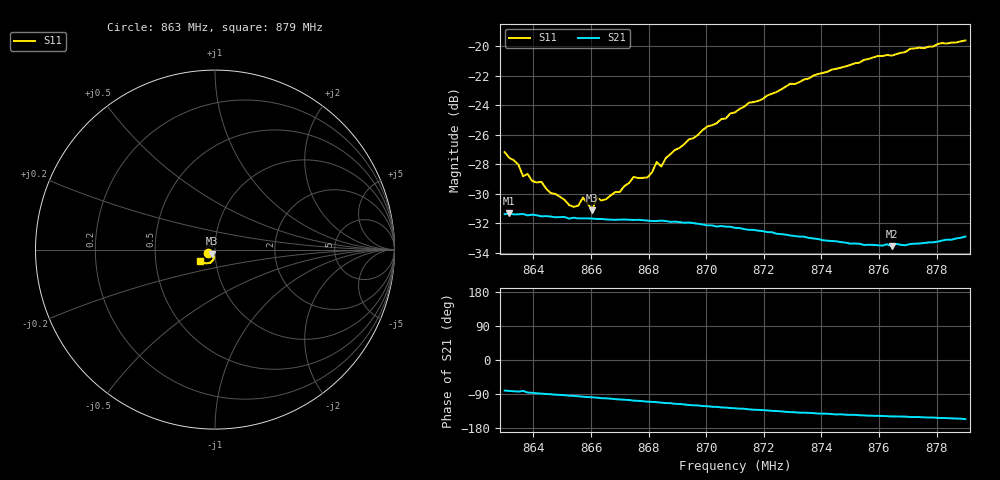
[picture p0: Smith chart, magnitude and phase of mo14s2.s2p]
# HZ S RI R 50
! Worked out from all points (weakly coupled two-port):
!   101 points, 863 MHz to 879 MHz, reference 50 ohm
!   highest |S21| = -31.35 dB at 863.16 MHz (marker M1); lowest = -33.6 dB at 876.44 MHz (marker M2)
!   lowest |S11| = -31.1 dB at 866.04 MHz (marker M3), VSWR 1.06, Z = 48.5 - j2.29 ohm
!   |S11| at or under -10 dB: start of sweep to end of sweep
!   S12 and S22 are empty: the file has one direction only
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8.63e8  -0.04 -0.0177  0.00439 -0.0266  0 0  0 0
8.6316e8  -0.0381 -0.0172  0.00395 -0.0268  0 0  0 0
8.6348e8  -0.0358 -0.0171  0.0031 -0.0267  0 0  0 0
8.6364e8  -0.0316 -0.0177  0.00401 -0.0267  0 0  0 0
8.6428e8  -0.0284 -0.0199  0.000589 -0.0265  0 0  0 0
8.6524e8  -0.0206 -0.0203  -0.00183 -0.0259  0 0  0 0
8.6556e8  -0.0187 -0.0219  -0.00256 -0.0259  0 0  0 0
8.6572e8  -0.0184 -0.0245  -0.00313 -0.0259  0 0  0 0
8.6604e8  -0.0147 -0.0236  -0.00381 -0.0257  0 0  0 0
8.662e8  -0.0162 -0.026  -0.00421 -0.0256  0 0  0 0
8.6636e8  -0.0151 -0.0259  -0.00487 -0.0255  0 0  0 0
8.67e8  -0.012 -0.0297  -0.00632 -0.025  0 0  0 0
8.6748e8  -0.00954 -0.0347  -0.00766 -0.0246  0 0  0 0
8.6796e8  -0.00768 -0.035  -0.00876 -0.0241  0 0  0 0
8.6828e8  -0.00789 -0.0397  -0.00924 -0.0238  0 0  0 0
8.6844e8  -0.00658 -0.0385  -0.00986 -0.0236  0 0  0 0
8.686e8  -0.00674 -0.0412  -0.0102 -0.0234  0 0  0 0
8.694e8  -0.00859 -0.0475  -0.0121 -0.0221  0 0  0 0
8.71e8  -0.0119 -0.0584  -0.0147 -0.0192  0 0  0 0
8.7372e8  -0.0281 -0.0743  -0.0171 -0.0143  0 0  0 0
8.7644e8  -0.0549 -0.0748  -0.018 -0.0108  0 0  0 0
8.79e8  -0.0817 -0.0652  -0.0207 -0.00918  0 0  0 0
